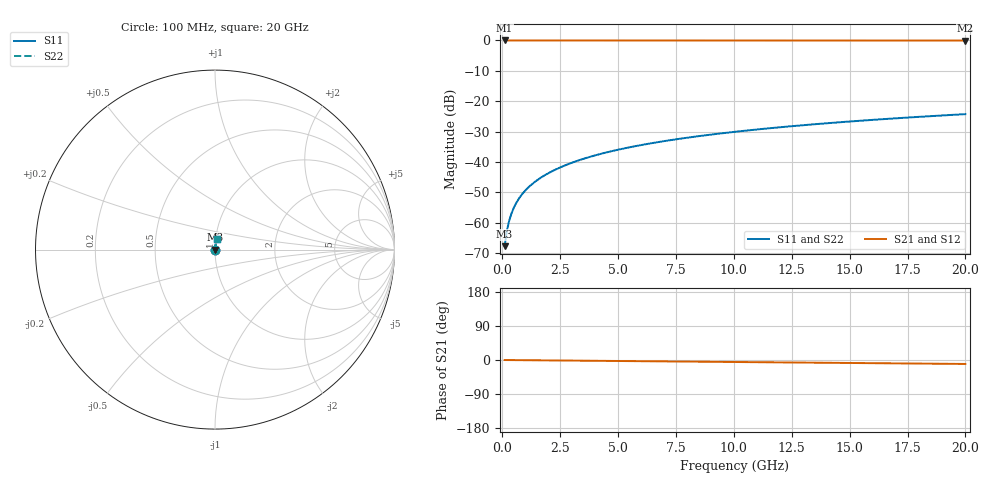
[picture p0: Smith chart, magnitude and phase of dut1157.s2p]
! Touchstone file exported from HFSS 2026.1.0
!  File:  C:/ffzhzh/LocalFiles/Ansys_Project_Files/temp_train_TSV_1157_1783191699_18472.aedt
!  Generated:  03:03:30 AM Jul  5, 2026
!  Design:  TSV
!  Project:  temp_train_TSV_1157_1783191699_18472
! Variables:
!  h_bsmrdl = 2um
!  h_ox = 20um
!  h_rdl = 5um
!  h_sub = 97.63um
!  h_tmrdl = 5um
!  h_tsv = 97.63um
!  h_via = 3um
!  l_bsmrdl = 300um
!  l_sub = 416.22um
!  l_tmrdl = 200um
!  m_sub = 200um
!  pitch = 52.39um
!  r_tsv = 8.11um
!  s_tmrdl = 10um
!  w_bsmrdl = 18um
!  w_sub = 500um
!  w_tmrdl = 12um
!  x_tsv_center1 = 206um
!  x_tsv_center2 = 524um
!  x_tsv_center3 = 736um
!  x_tsv_center4 = 1054um
!  x_tsv_center5 = 1266um
!  x_tsv_center6 = 1584um
# GHz S MA R 50.000000
! Terminal data exported
! Port[1] = TSV1_1_T1
! Port[2] = TSV1_1_T2
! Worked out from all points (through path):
!   200 points, 100 MHz to 20 GHz, reference 50 ohm
!   highest |S21| = 0.00 dB at 100 MHz (marker M1); lowest = 0.0 dB at 20 GHz (marker M2)
!   group delay of S21, straight-line fit = 1.45 ps
!   lowest |S11| = -67.7 dB at 100 MHz (marker M3), VSWR 1.00, Z = 50 + j0.0357 ohm
!   |S11| at or under -10 dB: start of sweep to end of sweep
!   |S22| runs from -67.7 to -24.3 dB; largest |S21 - S12| = 2.2e-15
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0.1  0.0004111 60.2  0.9998 -0.1  0.9998 -0.1  0.0004111 60.2
! Gamma 0 0 0 0
! Port Impedance 50 0 50 0
0.2  0.0007436 73.1  0.9998 -0.1  0.9998 -0.1  0.0007436 73.1
0.3  0.001088 77.5  0.9998 -0.2  0.9998 -0.2  0.001088 77.5
0.4  0.001432 79.6  0.9997 -0.2  0.9997 -0.2  0.001432 79.6
0.5  0.001772 80.7  0.9997 -0.3  0.9997 -0.3  0.001772 80.7
0.6  0.002107 81.4  0.9997 -0.3  0.9997 -0.3  0.002107 81.4
0.7  0.002439 81.9  0.9997 -0.4  0.9997 -0.4  0.002439 81.9
0.8  0.002766 82.2  0.9996 -0.4  0.9996 -0.4  0.002766 82.2
1  0.003412 82.7  0.9996 -0.5  0.9996 -0.5  0.003412 82.7
1.4  0.004681 83.4  0.9995 -0.8  0.9995 -0.8  0.004681 83.4
1.7  0.005625 83.8  0.9995 -0.9  0.9995 -0.9  0.005625 83.8
2  0.006566 84.0  0.9994 -1.1  0.9994 -1.1  0.006566 84.0
2.7  0.008758 84.4  0.9993 -1.4  0.9993 -1.4  0.008758 84.4
3.5  0.01126 84.5  0.9992 -1.9  0.9992 -1.9  0.01126 84.5
4.2  0.01343 84.4  0.9991 -2.2  0.9991 -2.2  0.01343 84.4
5  0.01591 84.3  0.999 -2.6  0.999 -2.6  0.01591 84.3
6.8  0.02145 83.7  0.9988 -3.6  0.9988 -3.6  0.02145 83.7
8.3  0.02604 83.2  0.9985 -4.4  0.9985 -4.4  0.02604 83.2
10.1  0.03153 82.5  0.9983 -5.3  0.9983 -5.3  0.03153 82.5
13.4  0.04152 81.0  0.9977 -7.0  0.9977 -7.0  0.04152 81.0
16.7  0.05144 79.5  0.9971 -8.7  0.9971 -8.7  0.05144 79.5
20  0.06124 77.9  0.9964 -10.5  0.9964 -10.5  0.06124 77.9
